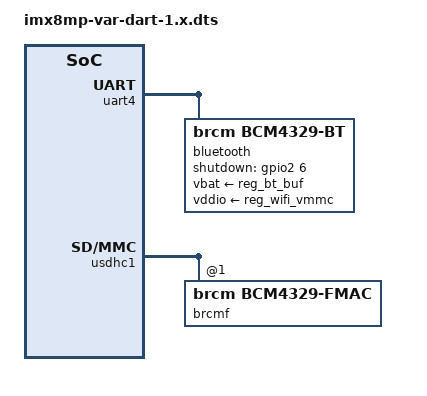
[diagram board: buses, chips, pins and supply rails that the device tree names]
// SPDX-License-Identifier: (GPL-2.0+ OR MIT)
/*
 * Device tree overlay to support the DART-MX8M-PLUS 1.x
 *
 * Copyright 2024 Variscite Ltd.
 */

/dts-v1/;
/plugin/;

#include <dt-bindings/gpio/gpio.h>

&bluetooth_iw61x {
	status = "disabled";
};

&bt_buf_hog {
	status = "disabled";
};

&reg_bt_buf {
	status = "okay";
};

&reg_eqos_phy {
	gpio = <&gpio2 20 GPIO_ACTIVE_HIGH>;
	enable-active-high;
};

&uart4 {
	bluetooth {
		compatible = "brcm,bcm4329-bt";
		pinctrl-names = "default";
		pinctrl-0 = <&pinctrl_bt_en>;
		clocks = <&osc_32k>;
		clock-names = "txco";
		max-speed = <3000000>;
		shutdown-gpios = <&gpio2 6 GPIO_ACTIVE_HIGH>;
		vbat-supply = <&reg_bt_buf>;
		vddio-supply = <&reg_wifi_vmmc>;
		brcm,bt-pcm-int-params = [01 00 00 00 00];
	};
};

/* WIFI */
&usdhc1 {
	#address-cells = <1>;
	#size-cells = <0>;

	brcmf: bcrmf@1 {
		reg = <1>;
		compatible = "brcm,bcm4329-fmac";
		laird,regdomain = "US";
	};
};
